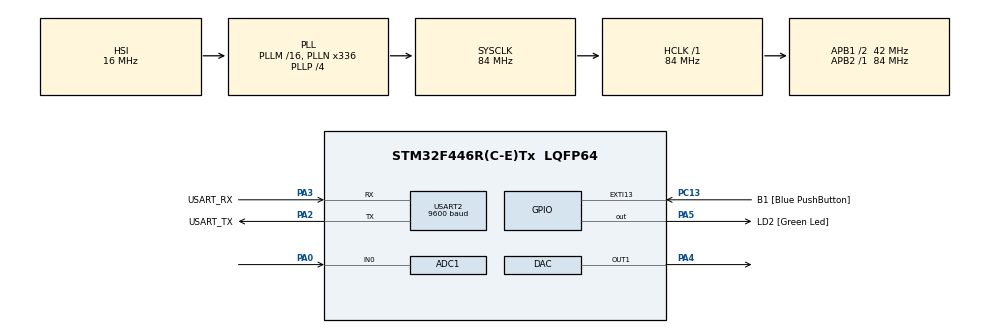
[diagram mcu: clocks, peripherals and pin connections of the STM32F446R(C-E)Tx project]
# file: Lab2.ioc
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ADC1.Channel-0\#ChannelRegularConversion=ADC_CHANNEL_0
ADC1.ContinuousConvMode=DISABLE
ADC1.DMAContinuousRequests=ENABLE
ADC1.ExternalTrigConv=ADC_EXTERNALTRIGCONV_T8_TRGO
ADC1.NbrOfConversionFlag=1
ADC1.Rank-0\#ChannelRegularConversion=1
ADC1.SamplingTime-0\#ChannelRegularConversion=ADC_SAMPLETIME_3CYCLES
ADC1.master=1
DAC.DAC_Trigger=DAC_TRIGGER_T8_TRGO
Dma.ADC1.0.Direction=DMA_PERIPH_TO_MEMORY
Dma.ADC1.0.FIFOMode=DMA_FIFOMODE_DISABLE
Dma.ADC1.0.Instance=DMA2_Stream0
Dma.ADC1.0.MemDataAlignment=DMA_MDATAALIGN_WORD
Dma.ADC1.0.MemInc=DMA_MINC_ENABLE
Dma.ADC1.0.Mode=DMA_CIRCULAR
Dma.ADC1.0.PeriphDataAlignment=DMA_PDATAALIGN_WORD
Dma.ADC1.0.PeriphInc=DMA_PINC_DISABLE
Dma.ADC1.0.Priority=DMA_PRIORITY_HIGH
Dma.DAC1.1.Direction=DMA_MEMORY_TO_PERIPH
Dma.DAC1.1.FIFOMode=DMA_FIFOMODE_DISABLE
Dma.DAC1.1.Instance=DMA1_Stream5
Dma.DAC1.1.MemDataAlignment=DMA_MDATAALIGN_WORD
Dma.DAC1.1.MemInc=DMA_MINC_ENABLE
Dma.DAC1.1.Mode=DMA_CIRCULAR
Dma.DAC1.1.PeriphDataAlignment=DMA_PDATAALIGN_WORD
Dma.DAC1.1.PeriphInc=DMA_PINC_DISABLE
Dma.DAC1.1.Priority=DMA_PRIORITY_HIGH
Dma.Request0=ADC1
Dma.Request1=DAC1
Mcu.Family=STM32F4
Mcu.Name=STM32F446R(C-E)Tx
Mcu.Package=LQFP64
NVIC.DMA1_Stream5_IRQn=true\:0\:0\:false\:false\:true\:false\:true\:true
NVIC.DMA2_Stream0_IRQn=true\:0\:0\:false\:false\:true\:false\:true\:true
NVIC.PriorityGroup=NVIC_PRIORITYGROUP_0
PA0-WKUP.Signal=ADCx_IN0
PA13.GPIO_Label=TMS
PA13.Mode=Serial_Wire
PA13.Signal=SYS_JTMS-SWDIO
PA14.GPIO_Label=TCK
PA14.Mode=Serial_Wire
PA14.Signal=SYS_JTCK-SWCLK
PA2.GPIO_Label=USART_TX
PA2.Mode=Asynchronous
PA2.Signal=USART2_TX
PA3.GPIO_Label=USART_RX
PA3.Mode=Asynchronous
PA3.Signal=USART2_RX
PA4.Signal=COMP_DAC1_group
PA5.GPIO_Label=LD2 [Green Led]
PA5.Signal=GPIO_Output
PB3.GPIO_Label=SWO
PB3.Signal=SYS_JTDO-SWO
PC13.GPIO_Label=B1 [Blue PushButton]
PC13.GPIO_ModeDefaultEXTI=GPIO_MODE_IT_FALLING
PC13.Signal=GPXTI13
PC14-OSC32_IN.Mode=LSE-External-Oscillator
PC14-OSC32_IN.Signal=RCC_OSC32_IN
PC15-OSC32_OUT.Mode=LSE-External-Oscillator
PC15-OSC32_OUT.Signal=RCC_OSC32_OUT
PH0-OSC_IN.Mode=HSE-External-Oscillator
PH0-OSC_IN.Signal=RCC_OSC_IN
PH1-OSC_OUT.Mode=HSE-External-Oscillator
PH1-OSC_OUT.Signal=RCC_OSC_OUT
ProjectManager.HeapSize=0x200
ProjectManager.StackSize=0x400
ProjectManager.TargetToolchain=CMake
RCC.48MHZClocksFreq_Value=84000000
RCC.AHBFreq_Value=84000000
RCC.APB1CLKDivider=RCC_HCLK_DIV2
RCC.APB1Freq_Value=42000000
RCC.APB1TimFreq_Value=84000000
RCC.APB2Freq_Value=84000000
RCC.APB2TimFreq_Value=84000000
RCC.CortexFreq_Value=84000000
RCC.FLatency-AdvancedSettings=FLASH_LATENCY_2
RCC.HCLKFreq_Value=84000000
RCC.HSE_VALUE=8000000
RCC.HSI_VALUE=16000000
RCC.PLLN=336
RCC.PLLP=RCC_PLLP_DIV4
RCC.SYSCLKFreq_VALUE=84000000
RCC.SYSCLKSource=RCC_SYSCLKSOURCE_PLLCLK
RCC.USBFreq_Value=168000000
RCC.VCOOutputFreq_Value=336000000
SH.ADCx_IN0.0=ADC1_IN0,IN0
SH.COMP_DAC1_group.0=DAC_OUT1,DAC_OUT1
STMicroelectronics.X-CUBE-ALGOBUILD.1.4.0.LibraryCcDSPOoLibraryJjDSPOoLibrary=true
TIM8.Period=4
TIM8.Prescaler=83
TIM8.TIM_MasterOutputTrigger=TIM_TRGO_UPDATE
USART2.BaudRate=9600
USART2.VirtualMode=VM_ASYNC
VP_STMicroelectronics.X-CUBE-ALGOBUILD_VS_DSPOoLibraryJjLibrary_1.4.0_1.4.0.Mode=DSPOoLibraryJjLibrary
VP_TIM8_VS_ClockSourceINT.Mode=Internal
board=NUCLEO-F446RE

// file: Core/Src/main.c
/* USER CODE BEGIN Header */
/**
 ******************************************************************************
 * @file           : main.c
 * @brief          : Main program body
 ******************************************************************************
 * @attention
 *
 * Copyright (c) 2026 STMicroelectronics.
 * All rights reserved.
 *
 * This software is licensed under terms that can be found in the LICENSE file
 * in the root directory of this software component.
 * If no LICENSE file comes with this software, it is provided AS-IS.
 *
 ******************************************************************************
 */
/* USER CODE END Header */
#include "main.h"

/* USER CODE BEGIN PD */
#define BUFFER_HALFSIZE 500
#define BUFFER_SIZE 1000
#define MIDPOINT_VALUE 2000
/* USER CODE END PD */

ADC_HandleTypeDef hadc1;
DMA_HandleTypeDef hdma_adc1;

DAC_HandleTypeDef hdac;
DMA_HandleTypeDef hdma_dac1;

TIM_HandleTypeDef htim8;

UART_HandleTypeDef huart2;

/* USER CODE BEGIN PV */
uint32_t adc_buffer[BUFFER_SIZE];
uint32_t dac_buffer[BUFFER_SIZE];
/* USER CODE END PV */

void SystemClock_Config(void);
static void MX_GPIO_Init(void);
static void MX_DMA_Init(void);
static void MX_USART2_UART_Init(void);
static void MX_ADC1_Init(void);
static void MX_DAC_Init(void);
static void MX_TIM8_Init(void);

/* USER CODE BEGIN 0 */
// void HAL_ADC_ConvHalfCpltCallback(ADC_HandleTypeDef *hadc) {
//   for (int n = 0; n < BUFFER_HALFSIZE; n++) {
//     dac_buffer[n] = adc_buffer[n];
//   }
// }
void HAL_ADC_ConvCpltCallback(ADC_HandleTypeDef *hadc) {
  for (int n = 0; n < BUFFER_SIZE; n++) {
    if (adc_buffer[n] < MIDPOINT_VALUE) {
      dac_buffer[n] = 2 * MIDPOINT_VALUE - adc_buffer[n];
    } else {
      dac_buffer[n] = adc_buffer[n];
    }
  }
}

int main(void) {
  HAL_Init();

  SystemClock_Config();

  /* Initialize all configured peripherals */
  MX_GPIO_Init();
  MX_DMA_Init();
  MX_TIM8_Init();
  MX_ADC1_Init();
  MX_DAC_Init();
  MX_USART2_UART_Init();

  HAL_TIM_Base_Start(&htim8);
  HAL_ADC_Start_DMA(&hadc1, adc_buffer, BUFFER_SIZE);
  HAL_DAC_Start_DMA(&hdac, DAC_CHANNEL_1, dac_buffer, BUFFER_SIZE,
                    DAC_ALIGN_12B_R);

  /* Infinite loop */
  while (1) {
  }
}
/* USER CODE END 0 */

void SystemClock_Config(void) {
  RCC_OscInitTypeDef RCC_OscInitStruct = {0};
  RCC_ClkInitTypeDef RCC_ClkInitStruct = {0};

  /** Configure the main internal regulator output voltage
   */
  __HAL_RCC_PWR_CLK_ENABLE();
  __HAL_PWR_VOLTAGESCALING_CONFIG(PWR_REGULATOR_VOLTAGE_SCALE3);

  /** Initializes the RCC Oscillators according to the specified parameters
   * in the RCC_OscInitTypeDef structure.
   */
  RCC_OscInitStruct.OscillatorType = RCC_OSCILLATORTYPE_HSI;
  RCC_OscInitStruct.HSIState = RCC_HSI_ON;
  RCC_OscInitStruct.HSICalibrationValue = RCC_HSICALIBRATION_DEFAULT;
  RCC_OscInitStruct.PLL.PLLState = RCC_PLL_ON;
  RCC_OscInitStruct.PLL.PLLSource = RCC_PLLSOURCE_HSI;
  RCC_OscInitStruct.PLL.PLLM = 16;
  RCC_OscInitStruct.PLL.PLLN = 336;
  RCC_OscInitStruct.PLL.PLLP = RCC_PLLP_DIV4;
  RCC_OscInitStruct.PLL.PLLQ = 2;
  RCC_OscInitStruct.PLL.PLLR = 2;
  if (HAL_RCC_OscConfig(&RCC_OscInitStruct) != HAL_OK) {
    Error_Handler();
  }

  /** Initializes the CPU, AHB and APB buses clocks
   */
  RCC_ClkInitStruct.ClockType = RCC_CLOCKTYPE_HCLK | RCC_CLOCKTYPE_SYSCLK |
                                RCC_CLOCKTYPE_PCLK1 | RCC_CLOCKTYPE_PCLK2;
  RCC_ClkInitStruct.SYSCLKSource = RCC_SYSCLKSOURCE_PLLCLK;
  RCC_ClkInitStruct.AHBCLKDivider = RCC_SYSCLK_DIV1;
  RCC_ClkInitStruct.APB1CLKDivider = RCC_HCLK_DIV2;
  RCC_ClkInitStruct.APB2CLKDivider = RCC_HCLK_DIV1;

  if (HAL_RCC_ClockConfig(&RCC_ClkInitStruct, FLASH_LATENCY_2) != HAL_OK) {
    Error_Handler();
  }
}

static void MX_ADC1_Init(void) {

  ADC_ChannelConfTypeDef sConfig = {0};

  /** Configure the global features of the ADC (Clock, Resolution, Data
   * Alignment and number of conversion)
   */
  hadc1.Instance = ADC1;
  hadc1.Init.ClockPrescaler = ADC_CLOCK_SYNC_PCLK_DIV4;
  hadc1.Init.Resolution = ADC_RESOLUTION_12B;
  hadc1.Init.ScanConvMode = DISABLE;
  hadc1.Init.ContinuousConvMode = DISABLE;
  hadc1.Init.DiscontinuousConvMode = DISABLE;
  hadc1.Init.ExternalTrigConvEdge = ADC_EXTERNALTRIGCONVEDGE_RISING;
  hadc1.Init.ExternalTrigConv = ADC_EXTERNALTRIGCONV_T8_TRGO;
  hadc1.Init.DataAlign = ADC_DATAALIGN_RIGHT;
  hadc1.Init.NbrOfConversion = 1;
  hadc1.Init.DMAContinuousRequests = ENABLE;
  hadc1.Init.EOCSelection = ADC_EOC_SINGLE_CONV;
  if (HAL_ADC_Init(&hadc1) != HAL_OK) {
    Error_Handler();
  }

  /** Configure for the selected ADC regular channel its corresponding rank in
   * the sequencer and its sample time.
   */
  sConfig.Channel = ADC_CHANNEL_0;
  sConfig.Rank = 1;
  sConfig.SamplingTime = ADC_SAMPLETIME_3CYCLES;
  if (HAL_ADC_ConfigChannel(&hadc1, &sConfig) != HAL_OK) {
    Error_Handler();
  }
}

static void MX_DAC_Init(void) {

  DAC_ChannelConfTypeDef sConfig = {0};

  /** DAC Initialization
   */
  hdac.Instance = DAC;
  if (HAL_DAC_Init(&hdac) != HAL_OK) {
    Error_Handler();
  }

  /** DAC channel OUT1 config
   */
  sConfig.DAC_Trigger = DAC_TRIGGER_T8_TRGO;
  sConfig.DAC_OutputBuffer = DAC_OUTPUTBUFFER_ENABLE;
  if (HAL_DAC_ConfigChannel(&hdac, &sConfig, DAC_CHANNEL_1) != HAL_OK) {
    Error_Handler();
  }
}

static void MX_TIM8_Init(void) {

  TIM_ClockConfigTypeDef sClockSourceConfig = {0};
  TIM_MasterConfigTypeDef sMasterConfig = {0};

  htim8.Instance = TIM8;
  htim8.Init.Prescaler = 83;
  htim8.Init.CounterMode = TIM_COUNTERMODE_UP;
  htim8.Init.Period = 4;
  htim8.Init.ClockDivision = TIM_CLOCKDIVISION_DIV1;
  htim8.Init.RepetitionCounter = 0;
  htim8.Init.AutoReloadPreload = TIM_AUTORELOAD_PRELOAD_DISABLE;
  if (HAL_TIM_Base_Init(&htim8) != HAL_OK) {
    Error_Handler();
  }
  sClockSourceConfig.ClockSource = TIM_CLOCKSOURCE_INTERNAL;
  if (HAL_TIM_ConfigClockSource(&htim8, &sClockSourceConfig) != HAL_OK) {
    Error_Handler();
  }
  sMasterConfig.MasterOutputTrigger = TIM_TRGO_UPDATE;
  sMasterConfig.MasterSlaveMode = TIM_MASTERSLAVEMODE_DISABLE;
  if (HAL_TIMEx_MasterConfigSynchronization(&htim8, &sMasterConfig) != HAL_OK) {
    Error_Handler();
  }
}

static void MX_USART2_UART_Init(void) {

  huart2.Instance = USART2;
  huart2.Init.BaudRate = 9600;
  huart2.Init.WordLength = UART_WORDLENGTH_8B;
  huart2.Init.StopBits = UART_STOPBITS_1;
  huart2.Init.Parity = UART_PARITY_NONE;
  huart2.Init.Mode = UART_MODE_TX_RX;
  huart2.Init.HwFlowCtl = UART_HWCONTROL_NONE;
  huart2.Init.OverSampling = UART_OVERSAMPLING_16;
  if (HAL_UART_Init(&huart2) != HAL_OK) {
    Error_Handler();
  }
}

static void MX_DMA_Init(void) {

  /* DMA controller clock enable */
  __HAL_RCC_DMA2_CLK_ENABLE();
  __HAL_RCC_DMA1_CLK_ENABLE();

  /* DMA interrupt init */
  /* DMA1_Stream5_IRQn interrupt configuration */
  HAL_NVIC_SetPriority(DMA1_Stream5_IRQn, 0, 0);
  HAL_NVIC_EnableIRQ(DMA1_Stream5_IRQn);
  /* DMA2_Stream0_IRQn interrupt configuration */
  HAL_NVIC_SetPriority(DMA2_Stream0_IRQn, 0, 0);
  HAL_NVIC_EnableIRQ(DMA2_Stream0_IRQn);
}

static void MX_GPIO_Init(void) {
  GPIO_InitTypeDef GPIO_InitStruct = {0};

  /* GPIO Ports Clock Enable */
  __HAL_RCC_GPIOC_CLK_ENABLE();
  __HAL_RCC_GPIOH_CLK_ENABLE();
  __HAL_RCC_GPIOA_CLK_ENABLE();
  __HAL_RCC_GPIOB_CLK_ENABLE();

  /*Configure GPIO pin Output Level */
  HAL_GPIO_WritePin(LD2_GPIO_Port, LD2_Pin, GPIO_PIN_RESET);

  /*Configure GPIO pin : B1_Pin */
  GPIO_InitStruct.Pin = B1_Pin;
  GPIO_InitStruct.Mode = GPIO_MODE_IT_FALLING;
  GPIO_InitStruct.Pull = GPIO_NOPULL;
  HAL_GPIO_Init(B1_GPIO_Port, &GPIO_InitStruct);

  /*Configure GPIO pin : LD2_Pin */
  GPIO_InitStruct.Pin = LD2_Pin;
  GPIO_InitStruct.Mode = GPIO_MODE_OUTPUT_PP;
  GPIO_InitStruct.Pull = GPIO_NOPULL;
  GPIO_InitStruct.Speed = GPIO_SPEED_FREQ_LOW;
  HAL_GPIO_Init(LD2_GPIO_Port, &GPIO_InitStruct);

}

void Error_Handler(void) {
  __disable_irq();
  while (1) {
  }
}
